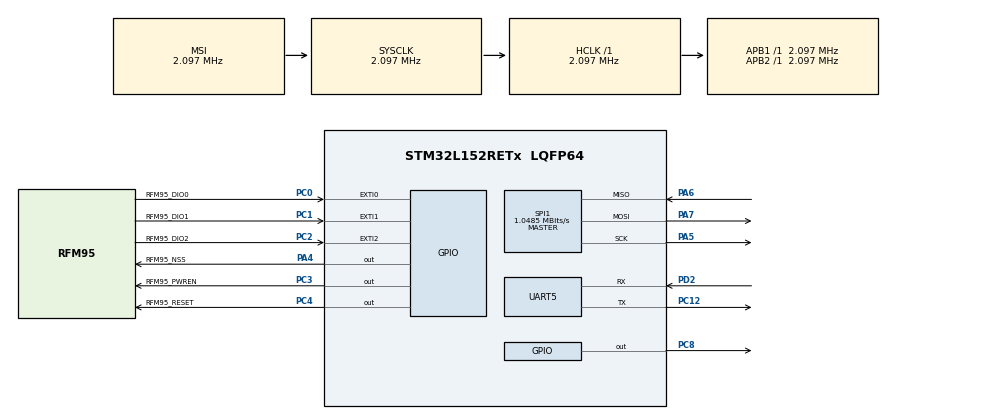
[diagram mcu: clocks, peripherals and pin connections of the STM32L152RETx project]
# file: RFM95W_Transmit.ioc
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Mcu.Family=STM32L1
Mcu.Name=STM32L152RETx
Mcu.Package=LQFP64
NVIC.EXTI0_IRQn=true\:0\:0\:false\:false\:true\:true\:true
NVIC.EXTI1_IRQn=true\:0\:0\:false\:false\:true\:true\:true
NVIC.EXTI2_IRQn=true\:0\:0\:false\:false\:true\:true\:true
NVIC.PriorityGroup=NVIC_PRIORITYGROUP_4
PA13.Mode=Serial_Wire
PA13.Signal=SYS_JTMS-SWDIO
PA14.Mode=Serial_Wire
PA14.Signal=SYS_JTCK-SWCLK
PA4.GPIO_Label=RFM95_NSS
PA4.Signal=GPIO_Output
PA5.Mode=Full_Duplex_Master
PA5.Signal=SPI1_SCK
PA6.Mode=Full_Duplex_Master
PA6.Signal=SPI1_MISO
PA7.Mode=Full_Duplex_Master
PA7.Signal=SPI1_MOSI
PC0.GPIO_Label=RFM95_DIO0
PC0.Signal=GPXTI0
PC1.GPIO_Label=RFM95_DIO1
PC1.Signal=GPXTI1
PC12.Mode=Asynchronous
PC12.Signal=UART5_TX
PC2.GPIO_Label=RFM95_DIO2
PC2.Signal=GPXTI2
PC3.GPIO_Label=RFM95_PWREN
PC3.Signal=GPIO_Output
PC4.GPIO_Label=RFM95_RESET
PC4.PinState=GPIO_PIN_SET
PC4.Signal=GPIO_Output
PC8.PinState=GPIO_PIN_SET
PC8.Signal=GPIO_Output
PD2.Mode=Asynchronous
PD2.Signal=UART5_RX
ProjectManager.HeapSize=0x200
ProjectManager.StackSize=0x400
ProjectManager.TargetToolchain=STM32CubeIDE
RCC.AHBFreq_Value=2097000
RCC.APB1Freq_Value=2097000
RCC.APB2Freq_Value=2097000
RCC.HSE_VALUE=24000000
RCC.HSI_VALUE=16000000
RCC.LSE_VALUE=32768
RCC.MSI_VALUE=2097000
RCC.SYSCLKFreq_VALUE=2097000
RCC.VCOOutputFreq_Value=48000000
SPI1.CalculateBaudRate=1.0485 MBits/s
SPI1.Direction=SPI_DIRECTION_2LINES
SPI1.Mode=SPI_MODE_MASTER
SPI1.VirtualType=VM_MASTER
UART5.VirtualMode=Asynchronous
board=custom

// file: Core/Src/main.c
/* USER CODE BEGIN Header */
/**
 ******************************************************************************
 * @file           : main.c
 * @brief          : Main program body
 ******************************************************************************
 * @attention
 *
 * Copyright (c) 2023 STMicroelectronics.
 * All rights reserved.
 *
 * This software is licensed under terms that can be found in the LICENSE file
 * in the root directory of this software component.
 * If no LICENSE file comes with this software, it is provided AS-IS.
 *
 ******************************************************************************
 */
/* USER CODE END Header */
#include "main.h"

/* USER CODE BEGIN Includes */
#include "rfm95.h"
#include <string.h>
#include <stdio.h>
/* USER CODE END Includes */

SPI_HandleTypeDef hspi1;

UART_HandleTypeDef huart5;

/* USER CODE BEGIN PV */
RFM95_HandleTypeDef rfm95 = { 0 };

typedef struct
{
	uint8_t CRCSrc;
	uint8_t CRCDes;
	uint8_t levelWarning;
	uint8_t CRC8;
} LORA_TxWarning;

typedef struct
{
	uint8_t CRCSrc;
	uint8_t CRCDes;
	uint8_t levelWarning;
	uint8_t status;
	uint8_t CRC8;
} LORA_RxWarning;

LORA_TxWarning txMsg = { 0 };
LORA_RxWarning rxMsg = { 0 };

/* USER CODE END PV */

void SystemClock_Config(void);
static void MX_GPIO_Init(void);
static void MX_SPI1_Init(void);
static void MX_UART5_Init(void);

int main(void)
{

	/* MCU Configuration--------------------------------------------------------*/

	/* Reset of all peripherals, Initializes the Flash interface and the Systick. */
	HAL_Init();

	/* Configure the system clock */
	SystemClock_Config();

	/* Initialize all configured peripherals */
	MX_GPIO_Init();
	MX_SPI1_Init();
	MX_UART5_Init();
	/* USER CODE BEGIN 2 */
	rfm95.resetPort = RFM95_RESET_GPIO_Port;
	rfm95.resetPin = RFM95_RESET_Pin;
	rfm95.nssPin = RFM95_NSS_Pin;
	rfm95.nssPort = RFM95_NSS_GPIO_Port;
	rfm95.nssPin = GPIO_PIN_4;
	rfm95.nssPort = GPIOA;
	rfm95.hspi = &hspi1;
	RFM95_reset(&rfm95);
	RFM95_setMode(&rfm95,
			RFLR_OPMODE_LONGRANGEMODE_ON | RFLR_OPMODE_SLEEP
					| RFLR_OPMODE_FREQMODE_ACCESS_HF);
	RFM95_setFrequency(&rfm95, 923);
	RFM95_setBandwidth(&rfm95, RFLR_MODEMCONFIG1_BW_125_KHZ);
	RFM95_setSpreadingFactor(&rfm95, RFLR_MODEMCONFIG2_SF_10);
	RFM95_setLNA(&rfm95);
	RFM95_setRFPowerAmplifier(&rfm95, RFLR_PACONFIG_PASELECT_PABOOST, 20);
	RFM95_setMode(&rfm95, RFLR_OPMODE_LONGRANGEMODE_ON | RFLR_OPMODE_STANDBY);

//	txMsg.CRCSrc = WLV_CRC8XOR((uint8_t*) "84969647577", strlen("84969647577"));
//	txMsg.CRCDes = WLV_CRC8XOR((uint8_t*) "841699741004",
//			strlen("841699741004"));
//	txMsg.levelWarning = 1;
//	txMsg.CRC8 = WLV_CRC8XOR((uint8_t*) &txMsg, sizeof(txMsg) - 1);
//
//	RFM95_transmit(&rfm95, (uint8_t*) &txMsg, sizeof(LORA_TxWarning), 1000);
	uint8_t buffer[4] = { 1, 2, 3 };
	uint8_t rxBuffer[50] = { 0 };

	uint8_t i = 0;
	char x[20] = { 0 };
#include <string.h>
	/* USER CODE END 2 */

	/* Infinite loop */
	/* USER CODE BEGIN WHILE */
	while (1)
	{

		sprintf(x, "Hello LoRa %d", i++);

		if (THT_OK == RFM95_transmit(&rfm95, (uint8_t*) x, strlen(x), 1000))
		{
			if (THT_OK
					== RFM95_receiveContinuous(&rfm95, (uint8_t*) rxBuffer,
							sizeof(rxBuffer), 10000))
				__NOP();
		}

		/* USER CODE END WHILE */

	}
}

void SystemClock_Config(void)
{
	RCC_OscInitTypeDef RCC_OscInitStruct = { 0 };
	RCC_ClkInitTypeDef RCC_ClkInitStruct = { 0 };

	/** Configure the main internal regulator output voltage
	 */
	__HAL_PWR_VOLTAGESCALING_CONFIG(PWR_REGULATOR_VOLTAGE_SCALE1);
	/** Initializes the RCC Oscillators according to the specified parameters
	 * in the RCC_OscInitTypeDef structure.
	 */
	RCC_OscInitStruct.OscillatorType = RCC_OSCILLATORTYPE_MSI;
	RCC_OscInitStruct.MSIState = RCC_MSI_ON;
	RCC_OscInitStruct.MSICalibrationValue = 0;
	RCC_OscInitStruct.MSIClockRange = RCC_MSIRANGE_5;
	RCC_OscInitStruct.PLL.PLLState = RCC_PLL_NONE;
	if (HAL_RCC_OscConfig(&RCC_OscInitStruct) != HAL_OK)
	{
		Error_Handler();
	}
	/** Initializes the CPU, AHB and APB buses clocks
	 */
	RCC_ClkInitStruct.ClockType = RCC_CLOCKTYPE_HCLK | RCC_CLOCKTYPE_SYSCLK
			| RCC_CLOCKTYPE_PCLK1 | RCC_CLOCKTYPE_PCLK2;
	RCC_ClkInitStruct.SYSCLKSource = RCC_SYSCLKSOURCE_MSI;
	RCC_ClkInitStruct.AHBCLKDivider = RCC_SYSCLK_DIV1;
	RCC_ClkInitStruct.APB1CLKDivider = RCC_HCLK_DIV1;
	RCC_ClkInitStruct.APB2CLKDivider = RCC_HCLK_DIV1;

	if (HAL_RCC_ClockConfig(&RCC_ClkInitStruct, FLASH_LATENCY_0) != HAL_OK)
	{
		Error_Handler();
	}
}

static void MX_SPI1_Init(void)
{

	/* SPI1 parameter configuration*/
	hspi1.Instance = SPI1;
	hspi1.Init.Mode = SPI_MODE_MASTER;
	hspi1.Init.Direction = SPI_DIRECTION_2LINES;
	hspi1.Init.DataSize = SPI_DATASIZE_8BIT;
	hspi1.Init.CLKPolarity = SPI_POLARITY_LOW;
	hspi1.Init.CLKPhase = SPI_PHASE_1EDGE;
	hspi1.Init.NSS = SPI_NSS_SOFT;
	hspi1.Init.BaudRatePrescaler = SPI_BAUDRATEPRESCALER_2;
	hspi1.Init.FirstBit = SPI_FIRSTBIT_MSB;
	hspi1.Init.TIMode = SPI_TIMODE_DISABLE;
	hspi1.Init.CRCCalculation = SPI_CRCCALCULATION_DISABLE;
	hspi1.Init.CRCPolynomial = 10;
	if (HAL_SPI_Init(&hspi1) != HAL_OK)
	{
		Error_Handler();
	}

}

static void MX_UART5_Init(void)
{

	huart5.Instance = UART5;
	huart5.Init.BaudRate = 115200;
	huart5.Init.WordLength = UART_WORDLENGTH_8B;
	huart5.Init.StopBits = UART_STOPBITS_1;
	huart5.Init.Parity = UART_PARITY_NONE;
	huart5.Init.Mode = UART_MODE_TX_RX;
	huart5.Init.HwFlowCtl = UART_HWCONTROL_NONE;
	huart5.Init.OverSampling = UART_OVERSAMPLING_16;
	if (HAL_UART_Init(&huart5) != HAL_OK)
	{
		Error_Handler();
	}

}

static void MX_GPIO_Init(void)
{
	GPIO_InitTypeDef GPIO_InitStruct = { 0 };

	/* GPIO Ports Clock Enable */
	__HAL_RCC_GPIOC_CLK_ENABLE();
	__HAL_RCC_GPIOA_CLK_ENABLE();
	__HAL_RCC_GPIOD_CLK_ENABLE();

	/*Configure GPIO pin Output Level */
	HAL_GPIO_WritePin(RFM95_PWREN_GPIO_Port, RFM95_PWREN_Pin, GPIO_PIN_RESET);

	/*Configure GPIO pin Output Level */
	HAL_GPIO_WritePin(RFM95_NSS_GPIO_Port, RFM95_NSS_Pin, GPIO_PIN_RESET);

	/*Configure GPIO pin Output Level */
	HAL_GPIO_WritePin(GPIOC, RFM95_RESET_Pin | GPIO_PIN_8, GPIO_PIN_SET);

	/*Configure GPIO pins : RFM95_DIO0_Pin RFM95_DIO1_Pin RFM95_DIO2_Pin */
	GPIO_InitStruct.Pin = RFM95_DIO0_Pin | RFM95_DIO1_Pin | RFM95_DIO2_Pin;
	GPIO_InitStruct.Mode = GPIO_MODE_IT_RISING;
	GPIO_InitStruct.Pull = GPIO_NOPULL;
	HAL_GPIO_Init(GPIOC, &GPIO_InitStruct);

	/*Configure GPIO pins : RFM95_PWREN_Pin RFM95_RESET_Pin PC8 */
	GPIO_InitStruct.Pin = RFM95_PWREN_Pin | RFM95_RESET_Pin | GPIO_PIN_8;
	GPIO_InitStruct.Mode = GPIO_MODE_OUTPUT_PP;
	GPIO_InitStruct.Pull = GPIO_NOPULL;
	GPIO_InitStruct.Speed = GPIO_SPEED_FREQ_LOW;
	HAL_GPIO_Init(GPIOC, &GPIO_InitStruct);

	/*Configure GPIO pin : RFM95_NSS_Pin */
	GPIO_InitStruct.Pin = RFM95_NSS_Pin;
	GPIO_InitStruct.Mode = GPIO_MODE_OUTPUT_PP;
	GPIO_InitStruct.Pull = GPIO_NOPULL;
	GPIO_InitStruct.Speed = GPIO_SPEED_FREQ_LOW;
	HAL_GPIO_Init(RFM95_NSS_GPIO_Port, &GPIO_InitStruct);

	/* EXTI interrupt init*/
	HAL_NVIC_SetPriority(EXTI0_IRQn, 0, 0);
	HAL_NVIC_EnableIRQ(EXTI0_IRQn);

	HAL_NVIC_SetPriority(EXTI1_IRQn, 0, 0);
	HAL_NVIC_EnableIRQ(EXTI1_IRQn);

	HAL_NVIC_SetPriority(EXTI2_IRQn, 0, 0);
	HAL_NVIC_EnableIRQ(EXTI2_IRQn);

}

void Error_Handler(void)
{
	__disable_irq();
	while (1)
	{
	}
}
